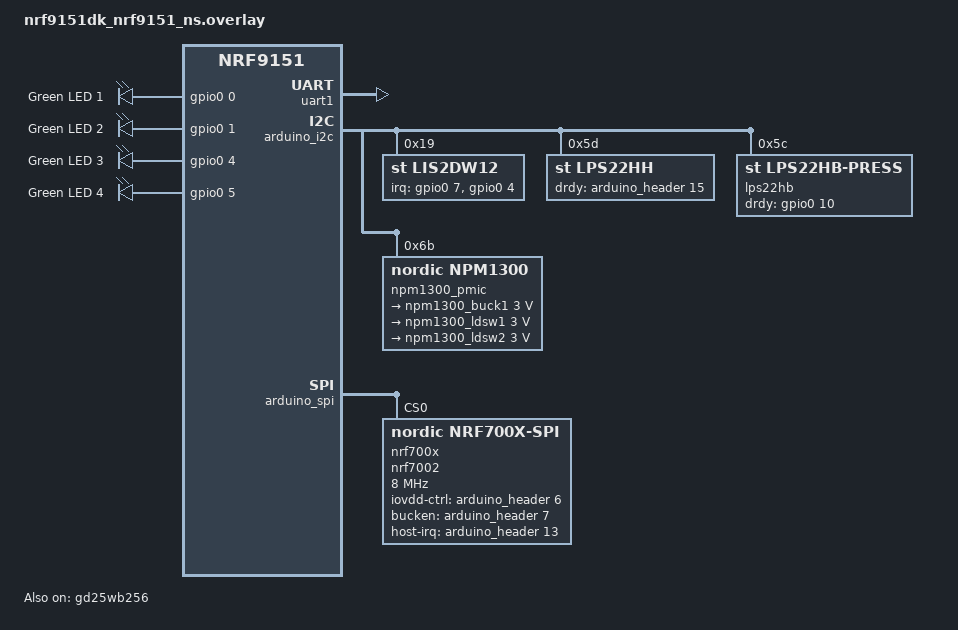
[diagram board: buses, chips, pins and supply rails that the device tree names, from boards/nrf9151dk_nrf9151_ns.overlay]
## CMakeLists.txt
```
#
# Copyright (c) 2021 Nordic Semiconductor ASA
#
# SPDX-License-Identifier: LicenseRef-Nordic-5-Clause
#

cmake_minimum_required(VERSION 3.20.0)

list(APPEND BOARD_ROOT ${CMAKE_CURRENT_SOURCE_DIR}/..)
find_package(Zephyr REQUIRED HINTS $ENV{ZEPHYR_BASE})
project(asset_tracker_v2)
zephyr_compile_definitions(PROJECT_NAME=${PROJECT_NAME})

# NORDIC SDK APP START
target_sources(app PRIVATE src/main.c)
# NORDIC SDK APP END

# Include source directory
target_include_directories(app PRIVATE src)
target_include_directories(app PRIVATE include/${BOARD}/)
zephyr_include_directories_ifdef(CONFIG_MEMFAULT configuration/memfault)

# Application directories
add_subdirectory(src/modules)
add_subdirectory(src/events)
add_subdirectory(src/addons)
add_subdirectory(src/location)

add_subdirectory_ifdef(CONFIG_CLOUD_MODULE src/cloud)
add_subdirectory_ifdef(CONFIG_SENSOR_MODULE src/ext_sensors)
add_subdirectory_ifdef(CONFIG_WATCHDOG_APPLICATION src/watchdog)

# Include nRF modem library header file for PC builds.
# These are used throughout the application in type definitions.
if (CONFIG_BOARD_QEMU_X86 OR CONFIG_BOARD_NATIVE_POSIX)
        target_include_directories(app PRIVATE ${NRFXLIB_DIR}/nrf_modem/include/)

        # Make folder containing certificates global so that it can be located by the configured
        # cloud library.
        zephyr_include_directories(src/cloud-certs)

        target_compile_options(app PRIVATE
	        -DCONFIG_LTE_NEIGHBOR_CELLS_MAX=10)
endif()

if(CONFIG_ASSET_TRACKER_V2_LTO)
        target_compile_options(app PRIVATE "-flto")
endif()
```

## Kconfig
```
#
# Copyright (c) 2021 Nordic Semiconductor ASA
#
# SPDX-License-Identifier: LicenseRef-Nordic-5-Clause
#

# Asset Tracker v2 requires UART_INTERRUPT_DRIVEN to be enabled when SERIAL is used in order to
# receive AT Commands.
config UART_INTERRUPT_DRIVEN
	default y if SERIAL

menu "Asset Tracker v2"

config ASSET_TRACKER_V2_APP_VERSION
	string "Asset Tracker application firmware version"
	default "0.0.0-development"

config ASSET_TRACKER_V2_APP_VERSION_MAX_LEN
	int "Maximum length of the application firmware version"
	default 150

config ASSET_TRACKER_V2_LTO
	bool "Enable link time optimization"
	default y if (SIZE_OPTIMIZATIONS && !NATIVE_LIBRARY)
	# not for NATIVE_LIBRARY as otherwise the native simulator build will produce a warning when
	# mixing lto and non lto code causing twister runs to fail
	help
	  Compile the Asset Tracker application code with link time optimization enabled. This
	  option is only applied for the application code and not the libraries and external modules
	  that are linked in.

rsource "src/modules/Kconfig.modules_common"
rsource "src/modules/Kconfig.cloud_module"
rsource "src/cloud/Kconfig.lwm2m_integration"
rsource "src/modules/Kconfig.data_module"
rsource "src/modules/Kconfig.location_module"
rsource "src/modules/Kconfig.modem_module"
rsource "src/modules/Kconfig.sensor_module"
rsource "src/modules/Kconfig.ui_module"
rsource "src/modules/Kconfig.util_module"
rsource "src/modules/Kconfig.led_module"
rsource "src/modules/Kconfig.debug_module"

rsource "src/addons/Kconfig"
rsource "src/addons/pmic/Kconfig"
rsource "src/cloud/cloud_codec/Kconfig"
rsource "src/watchdog/Kconfig"
rsource "src/events/Kconfig"

endmenu

menu "Zephyr Kernel"
source "Kconfig.zephyr"
endmenu

module = APPLICATION_MODULE
module-str = Application module
source "subsys/logging/Kconfig.template.log_config"
```

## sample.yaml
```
sample:
  name: Asset Tracker v2 Application
tests:
  applications.asset_tracker_v2.nrf_cloud:
    build_only: true
    build_on_all: true
    platform_allow:
      - nrf9160dk_nrf9160_ns
      - nrf9161dk_nrf9161_ns
      - nrf9151dk_nrf9151_ns
      - thingy9151lite_nrf9161_ns
      - thingy91_nrf9160_ns
      - thingy91x_nrf9151_ns
      - native_sim
    integration_platforms:
      - nrf9160dk_nrf9160_ns
      - thingy91_nrf9160_ns
      - native_sim
    tags: ci_build
  applications.asset_tracker_v2.nrf_cloud.sysbuild:
    build_only: true
    sysbuild: true
    build_on_all: true
    platform_allow:
      - nrf9160dk_nrf9160_ns
      - thingy91_nrf9160_ns
      - thingy91x_nrf9151_ns
    integration_platforms:
      - nrf9160dk_nrf9160_ns
      - thingy91_nrf9160_ns
    tags: ci_build sysbuild
  applications.asset_tracker_v2.nrf_cloud-pgps:
    build_only: true
    build_on_all: true
    platform_allow:
      - nrf9160dk_nrf9160_ns
      - nrf9161dk_nrf9161_ns
      - nrf9151dk_nrf9151_ns
      - thingy9151lite_nrf9161_ns
      - thingy91_nrf9160_ns
      - thingy91x_nrf9151_ns
    integration_platforms:
      - nrf9160dk_nrf9160_ns
      - thingy91_nrf9160_ns
    extra_args: EXTRA_CONF_FILE=overlay-pgps.conf
    tags: ci_build
  applications.asset_tracker_v2.nrf_cloud-pgps.sysbuild:
    build_only: true
    sysbuild: true
    build_on_all: true
    platform_allow:
      - nrf9160dk_nrf9160_ns
      - thingy91_nrf9160_ns
      - thingy91x_nrf9151_ns
    integration_platforms:
      - nrf9160dk_nrf9160_ns
      - thingy91_nrf9160_ns
    extra_args: EXTRA_CONF_FILE=overlay-pgps.conf
    tags: ci_build sysbuild
  applications.asset_tracker_v2.nrf_cloud-no-agnss:
    build_only: true
    build_on_all: true
    platform_allow:
      - nrf9160dk_nrf9160_ns
      - nrf9161dk_nrf9161_ns
      - nrf9151dk_nrf9151_ns
      - thingy9151lite_nrf9161_ns
      - thingy91_nrf9160_ns
      - thingy91x_nrf9151_ns
    integration_platforms:
      - nrf9160dk_nrf9160_ns
      - thingy91_nrf9160_ns
    extra_args: CONFIG_NRF_CLOUD_AGNSS=n
    tags: ci_build
  applications.asset_tracker_v2.nrf_cloud-no-agnss.sysbuild:
    build_only: true
    sysbuild: true
    build_on_all: true
    platform_allow:
      - nrf9160dk_nrf9160_ns
      - thingy91_nrf9160_ns
      - thingy91x_nrf9151_ns
    integration_platforms:
      - nrf9160dk_nrf9160_ns
      - thingy91_nrf9160_ns
    extra_args: CONFIG_NRF_CLOUD_AGNSS=n
    tags: ci_build sysbuild
  applications.asset_tracker_v2.aws:
    build_only: true
    build_on_all: true
    platform_allow:
      - nrf9160dk_nrf9160_ns
      - nrf9161dk_nrf9161_ns
      - nrf9151dk_nrf9151_ns
      - thingy9151lite_nrf9161_ns
      - thingy91_nrf9160_ns
      - thingy91x_nrf9151_ns
      - native_sim
    integration_platforms:
      - nrf9160dk_nrf9160_ns
      - thingy91_nrf9160_ns
      - native_sim
    extra_configs:
      - CONFIG_AWS_IOT_BROKER_HOST_NAME="example-hostname.aws.com"
    extra_args: EXTRA_CONF_FILE="overlay-aws.conf"
    tags: ci_build
  applications.asset_tracker_v2.aws.sysbuild:
    build_only: true
    sysbuild: true
    build_on_all: true
    platform_allow:
      - nrf9160dk_nrf9160_ns
      - thingy91_nrf9160_ns
      - thingy91x_nrf9151_ns
    integration_platforms:
      - nrf9160dk_nrf9160_ns
      - thingy91_nrf9160_ns
    extra_configs:
      - CONFIG_AWS_IOT_BROKER_HOST_NAME="example-hostname.aws.com"
    extra_args: EXTRA_CONF_FILE="overlay-aws.conf"
    tags: ci_build sysbuild
  applications.asset_tracker_v2.aws-pgps:
    build_only: true
    build_on_all: true
    platform_allow:
      - nrf9160dk_nrf9160_ns
      - nrf9161dk_nrf9161_ns
      - nrf9151dk_nrf9151_ns
      - thingy9151lite_nrf9161_ns
      - thingy91_nrf9160_ns
      - thingy91x_nrf9151_ns
    integration_platforms:
      - nrf9160dk_nrf9160_ns
      - thingy91_nrf9160_ns
    extra_configs:
      - CONFIG_AWS_IOT_BROKER_HOST_NAME="example-hostname.aws.com"
    extra_args: EXTRA_CONF_FILE="overlay-aws.conf;overlay-pgps.conf"
    tags: ci_build
  applications.asset_tracker_v2.aws-pgps.sysbuild:
    build_only: true
    sysbuild: true
    build_on_all: true
    platform_allow:
      - nrf9160dk_nrf9160_ns
      - thingy91_nrf9160_ns
      - thingy91x_nrf9151_ns
    integration_platforms:
      - nrf9160dk_nrf9160_ns
      - thingy91_nrf9160_ns
    extra_configs:
      - CONFIG_AWS_IOT_BROKER_HOST_NAME="example-hostname.aws.com"
    extra_args: EXTRA_CONF_FILE="overlay-aws.conf;overlay-pgps.conf"
    tags: ci_build sysbuild
  applications.asset_tracker_v2.aws-all:
    build_only: true
    build_on_all: true
    platform_allow:
      - nrf9160dk_nrf9160_ns
      - nrf9161dk_nrf9161_ns
      - nrf9151dk_nrf9151_ns
      - thingy9151lite_nrf9161_ns
      - thingy91_nrf9160_ns
      - thingy91x_nrf9151_ns
    integration_platforms:
      - nrf9160dk_nrf9160_ns
      - thingy91_nrf9160_ns
    extra_configs:
      - CONFIG_AWS_IOT_BROKER_HOST_NAME="example-hostname.aws.com"
      - CONFIG_MEMFAULT_NCS_PROJECT_KEY="PROJECTKEY"
    extra_args: >
      EXTRA_CONF_FILE="overlay-aws.conf;overlay-pgps.conf;overlay-debug.conf;overlay-memfault.conf"
    tags: ci_build
  applications.asset_tracker_v2.aws-all.sysbuild:
    build_only: true
    sysbuild: true
    build_on_all: true
    platform_allow:
      - nrf9160dk_nrf9160_ns
      - thingy91_nrf9160_ns
      - thingy91x_nrf9151_ns
    integration_platforms:
      - nrf9160dk_nrf9160_ns
      - thingy91_nrf9160_ns
    extra_configs:
      - CONFIG_AWS_IOT_BROKER_HOST_NAME="example-hostname.aws.com"
      - CONFIG_MEMFAULT_NCS_PROJECT_KEY="PROJECTKEY"
    extra_args: >
      EXTRA_CONF_FILE="overlay-aws.conf;overlay-pgps.conf;overlay-debug.conf;overlay-memfault.conf"
    tags: ci_build sysbuild
  applications.asset_tracker_v2.azure:
    build_only: true
    build_on_all: true
    platform_allow:
      - nrf9160dk_nrf9160_ns
      - nrf9161dk_nrf9161_ns
      - nrf9151dk_nrf9151_ns
      - thingy9151lite_nrf9161_ns
      - thingy91_nrf9160_ns
      - thingy91x_nrf9151_ns
      - native_sim
    integration_platforms:
      - nrf9160dk_nrf9160_ns
      - thingy91_nrf9160_ns
      - native_sim
    extra_configs:
      - CONFIG_AZURE_IOT_HUB_DPS_HOSTNAME="global.azure-devices-provisioning.net"
      - CONFIG_AZURE_IOT_HUB_DPS_ID_SCOPE="IDSCOPE"
    extra_args: EXTRA_CONF_FILE="overlay-azure.conf"
    tags: ci_build
  applications.asset_tracker_v2.azure.sysbuild:
    build_only: true
    sysbuild: true
    build_on_all: true
    platform_allow:
      - nrf9160dk_nrf9160_ns
      - thingy91_nrf9160_ns
      - thingy91x_nrf9151_ns
    integration_platforms:
      - nrf9160dk_nrf9160_ns
      - thingy91_nrf9160_ns
    extra_configs:
      - CONFIG_AZURE_IOT_HUB_DPS_HOSTNAME="global.azure-devices-provisioning.net"
      - CONFIG_AZURE_IOT_HUB_DPS_ID_SCOPE="IDSCOPE"
    extra_args: EXTRA_CONF_FILE="overlay-azure.conf"
    tags: ci_build sysbuild
  applications.asset_tracker_v2.debug:
    build_only: true
    build_on_all: true
    platform_allow:
      - nrf9160dk_nrf9160_ns
      - nrf9161dk_nrf9161_ns
      - nrf9151dk_nrf9151_ns
      - thingy9151lite_nrf9161_ns
      - thingy91_nrf9160_ns
      - thingy91x_nrf9151_ns
      - native_sim
    integration_platforms:
      - nrf9160dk_nrf9160_ns
      - thingy91_nrf9160_ns
      - native_sim
    extra_args: EXTRA_CONF_FILE=overlay-debug.conf
    tags: ci_build
  applications.asset_tracker_v2.debug.sysbuild:
    build_only: true
    sysbuild: true
    build_on_all: true
    platform_allow:
      - nrf9160dk_nrf9160_ns
      - thingy91_nrf9160_ns
      - thingy91x_nrf9151_ns
    integration_platforms:
      - nrf9160dk_nrf9160_ns
      - thingy91_nrf9160_ns
    extra_args: EXTRA_CONF_FILE=overlay-debug.conf
    tags: ci_build sysbuild
  applications.asset_tracker_v2.debug-memfault:
    build_only: true
    build_on_all: true
    platform_allow:
      - nrf9160dk_nrf9160_ns
      - nrf9161dk_nrf9161_ns
      - nrf9151dk_nrf9151_ns
      - thingy9151lite_nrf9161_ns
      - thingy91_nrf9160_ns
      - thingy91x_nrf9151_ns
    integration_platforms:
      - nrf9160dk_nrf9160_ns
      - thingy91_nrf9160_ns
    extra_configs:
      - CONFIG_MEMFAULT_NCS_PROJECT_KEY="PROJECTKEY"
    extra_args: EXTRA_CONF_FILE="overlay-debug.conf;overlay-memfault.conf"
    tags: ci_build
  applications.asset_tracker_v2.debug-memfault.sysbuild:
    build_only: true
    sysbuild: true
    build_on_all: true
    platform_allow:
      - nrf9160dk_nrf9160_ns
      - thingy91_nrf9160_ns
      - thingy91x_nrf9151_ns
    integration_platforms:
      - nrf9160dk_nrf9160_ns
      - thingy91_nrf9160_ns
    extra_configs:
      - CONFIG_MEMFAULT_NCS_PROJECT_KEY="PROJECTKEY"
    extra_args: EXTRA_CONF_FILE="overlay-debug.conf;overlay-memfault.conf"
    tags: ci_build sysbuild
  applications.asset_tracker_v2.memfault:
    build_only: true
    build_on_all: true
    platform_allow:
      - nrf9160dk_nrf9160_ns
      - nrf9161dk_nrf9161_ns
      - nrf9151dk_nrf9151_ns
      - thingy9151lite_nrf9161_ns
      - thingy91_nrf9160_ns
      - thingy91x_nrf9151_ns
    integration_platforms:
      - nrf9160dk_nrf9160_ns
      - thingy91_nrf9160_ns
    extra_configs:
      - CONFIG_MEMFAULT_NCS_PROJECT_KEY="PROJECTKEY"
    extra_args: EXTRA_CONF_FILE=overlay-memfault.conf
    tags: ci_build
  applications.asset_tracker_v2.memfault.sysbuild:
    build_only: true
    sysbuild: true
    build_on_all: true
    platform_allow:
      - nrf9160dk_nrf9160_ns
      - thingy91_nrf9160_ns
      - thingy91x_nrf9151_ns
    integration_platforms:
      - nrf9160dk_nrf9160_ns
      - thingy91_nrf9160_ns
    extra_configs:
      - CONFIG_MEMFAULT_NCS_PROJECT_KEY="PROJECTKEY"
    extra_args: EXTRA_CONF_FILE=overlay-memfault.conf
    tags: ci_build sysbuild
  applications.asset_tracker_v2.low-power:
    build_only: true
    build_on_all: true
    platform_allow:
      - nrf9160dk_nrf9160_ns
      - nrf9161dk_nrf9161_ns
      - nrf9151dk_nrf9151_ns
      - thingy9151lite_nrf9161_ns
      - thingy91_nrf9160_ns
      - thingy91x_nrf9151_ns
    integration_platforms:
      - nrf9160dk_nrf9160_ns
      - thingy91_nrf9160_ns
    extra_args: EXTRA_CONF_FILE=overlay-low-power.conf
    tags: ci_build
  applications.asset_tracker_v2.low-power.sysbuild:
    build_only: true
    sysbuild: true
    build_on_all: true
    platform_allow:
      - nrf9160dk_nrf9160_ns
      - thingy91_nrf9160_ns
      - thingy91x_nrf9151_ns
    integration_platforms:
      - nrf9160dk_nrf9160_ns
      - thingy91_nrf9160_ns
    extra_args: EXTRA_CONF_FILE=overlay-low-power.conf
    tags: ci_build sysbuild
  applications.asset_tracker_v2.carrier.nrf9160dk:
    build_only: true
    build_on_all: true
    platform_allow:
      - nrf9160dk_nrf9160_ns
      - thingy91_nrf9160_ns
      - thingy91x_nrf9151_ns
    integration_platforms:
      - nrf9160dk_nrf9160_ns
    extra_args: EXTRA_CONF_FILE=overlay-carrier.conf
    tags: ci_build
  applications.asset_tracker_v2.carrier.nrf9160dk.sysbuild:
    build_only: true
    sysbuild: true
    build_on_all: true
    platform_allow:
      - nrf9160dk_nrf9160_ns
      - thingy91_nrf9160_ns
      - thingy91x_nrf9151_ns
    integration_platforms:
      - nrf9160dk_nrf9160_ns
      - thingy91_nrf9160_ns
    extra_args: EXTRA_CONF_FILE=overlay-carrier.conf
    tags: ci_build sysbuild
  applications.asset_tracker_v2.carrier.nrf9161dk:
    build_only: true
    build_on_all: true
    platform_allow: nrf9161dk_nrf9161_ns
    integration_platforms:
      - nrf9161dk_nrf9161_ns
    extra_args: EXTRA_CONF_FILE=overlay-carrier.conf
    tags: ci_build
  applications.asset_tracker_v2.carrier.nrf9151dk:
    build_only: true
    build_on_all: true
    platform_allow: nrf9151dk_nrf9151_ns
    integration_platforms:
      - nrf9151dk_nrf9151_ns
    extra_args: EXTRA_CONF_FILE=overlay-carrier.conf
    tags: ci_build
  applications.asset_tracker_v2.carrier.thingy9151lite:
    build_only: true
    build_on_all: true
    platform_allow: thingy9151lite_nrf9161_ns
    integration_platforms:
      - thingy9151lite_nrf9161_ns
    extra_args: EXTRA_CONF_FILE=overlay-carrier.conf
    tags: ci_build
  applications.asset_tracker_v2.lwm2m.bootstrap-low_power:
    build_only: true
    build_on_all: true
    platform_allow:
      - nrf9160dk_nrf9160_ns
      - nrf9161dk_nrf9161_ns
      - nrf9151dk_nrf9151_ns
      - thingy9151lite_nrf9161_ns
      - thingy91_nrf9160_ns
      - thingy91x_nrf9151_ns
    integration_platforms:
      - nrf9160dk_nrf9160_ns
      - thingy91_nrf9160_ns
    extra_configs:
      - CONFIG_LWM2M_RD_CLIENT_SUPPORT_BOOTSTRAP=y
    extra_args: EXTRA_CONF_FILE="overlay-lwm2m.conf;overlay-low-power.conf"
    tags: ci_build
  applications.asset_tracker_v2.lwm2m.low-power.sysbuild:
    build_only: true
    sysbuild: true
    build_on_all: true
    platform_allow:
      - nrf9160dk_nrf9160_ns
      - thingy91_nrf9160_ns
      - thingy91x_nrf9151_ns
    integration_platforms:
      - nrf9160dk_nrf9160_ns
      - thingy91_nrf9160_ns
    extra_args: EXTRA_CONF_FILE="overlay-lwm2m.conf;overlay-low-power.conf"
    tags: ci_build sysbuild
  applications.asset_tracker_v2.lwm2m.debug:
    build_only: true
    build_on_all: true
    platform_allow:
      - nrf9160dk_nrf9160_ns
      - nrf9161dk_nrf9161_ns
      - nrf9151dk_nrf9151_ns
      - thingy9151lite_nrf9161_ns
      - thingy91_nrf9160_ns
      - thingy91x_nrf9151_ns
    integration_platforms:
      - nrf9160dk_nrf9160_ns
      - thingy91_nrf9160_ns
    extra_args: EXTRA_CONF_FILE="overlay-lwm2m.conf;overlay-debug.conf"
    tags: ci_build
  applications.asset_tracker_v2.lwm2m.debug.sysbuild:
    build_only: true
    sysbuild: true
    build_on_all: true
    platform_allow:
      - nrf9160dk_nrf9160_ns
      - thingy91_nrf9160_ns
      - thingy91x_nrf9151_ns
    integration_platforms:
      - nrf9160dk_nrf9160_ns
      - thingy91_nrf9160_ns
    extra_args: EXTRA_CONF_FILE="overlay-lwm2m.conf;overlay-debug.conf"
    tags: ci_build sysbuild
  applications.asset_tracker_v2.lwm2m.debug-modem_trace:
    build_only: true
    build_on_all: true
    platform_allow:
      - nrf9160dk_nrf9160_ns
      - nrf9161dk_nrf9161_ns
      - nrf9151dk_nrf9151_ns
      - thingy9151lite_nrf9161_ns
    integration_platforms:
      - nrf9160dk_nrf9160_ns
    extra_args:
      EXTRA_CONF_FILE="overlay-lwm2m.conf;overlay-debug.conf"
      SNIPPET="nrf91-modem-trace-uart;tfm-enable-share-uart"
    tags: ci_build
  applications.asset_tracker_v2.lwm2m.debug-modem_trace.sysbuild:
    build_only: true
    sysbuild: true
    build_on_all: true
    platform_allow:
      - nrf9160dk_nrf9160_ns
    integration_platforms:
      - nrf9160dk_nrf9160_ns
    extra_args: >
      EXTRA_CONF_FILE="overlay-lwm2m.conf;overlay-debug.conf"
      asset_tracker_v2_SNIPPET="nrf91-modem-trace-uart;tfm-enable-share-uart"
    tags: ci_build sysbuild
  applications.asset_tracker_v2.lwm2m.modem_trace:
    build_only: true
    build_on_all: true
    platform_allow:
      - nrf9160dk_nrf9160_ns
      - nrf9161dk_nrf9161_ns
      - nrf9151dk_nrf9151_ns
      - thingy9151lite_nrf9161_ns
      - thingy91_nrf9160_ns
      - thingy91x_nrf9151_ns
    integration_platforms:
      - nrf9160dk_nrf9160_ns
      - thingy91_nrf9160_ns
    extra_args:
      EXTRA_CONF_FILE="overlay-lwm2m.conf"
      SNIPPET="nrf91-modem-trace-uart;tfm-enable-share-uart"
    tags: ci_build
  applications.asset_tracker_v2.lwm2m.modem_trace.sysbuild:
    build_only: true
    sysbuild: true
    build_on_all: true
    platform_allow:
      - nrf9160dk_nrf9160_ns
      - thingy91_nrf9160_ns
      - thingy91x_nrf9151_ns
    integration_platforms:
      - nrf9160dk_nrf9160_ns
      - thingy91_nrf9160_ns
    extra_args: >
      EXTRA_CONF_FILE="overlay-lwm2m.conf"
      asset_tracker_v2_SNIPPET="nrf91-modem-trace-uart;tfm-enable-share-uart"
    tags: ci_build sysbuild
  applications.asset_tracker_v2.lwm2m.memfault:
    build_only: true
    build_on_all: true
    platform_allow:
      - nrf9160dk_nrf9160_ns
      - nrf9161dk_nrf9161_ns
      - nrf9151dk_nrf9151_ns
      - thingy9151lite_nrf9161_ns
      - thingy91_nrf9160_ns
      - thingy91x_nrf9151_ns
    integration_platforms:
      - nrf9160dk_nrf9160_ns
      - nrf9161dk_nrf9161_ns
      - nrf9151dk_nrf9151_ns
      - thingy9151lite_nrf9161_ns
      - thingy91_nrf9160_ns
    extra_configs:
      - CONFIG_MEMFAULT_NCS_PROJECT_KEY="PROJECTKEY"
    extra_args: EXTRA_CONF_FILE="overlay-lwm2m.conf;overlay-memfault.conf"
    tags: ci_build
  applications.asset_tracker_v2.lwm2m.memfault.sysbuild:
    build_only: true
    sysbuild: true
    build_on_all: true
    platform_allow:
      - nrf9160dk_nrf9160_ns
      - thingy91_nrf9160_ns
      - thingy91x_nrf9151_ns
    integration_platforms:
      - nrf9160dk_nrf9160_ns
      - thingy91_nrf9160_ns
    extra_configs:
      - CONFIG_MEMFAULT_NCS_PROJECT_KEY="PROJECTKEY"
    extra_args: EXTRA_CONF_FILE="overlay-lwm2m.conf;overlay-memfault.conf"
    tags: ci_build sysbuild
  applications.asset_tracker_v2.memfault-low-power:
    build_only: true
    build_on_all: true
    platform_allow:
      - nrf9160dk_nrf9160_ns
      - nrf9161dk_nrf9161_ns
      - nrf9151dk_nrf9151_ns
      - thingy9151lite_nrf9161_ns
      - thingy91_nrf9160_ns
      - thingy91x_nrf9151_ns
    integration_platforms:
      - nrf9160dk_nrf9160_ns
      - nrf9161dk_nrf9161_ns
      - nrf9151dk_nrf9151_ns
      - thingy9151lite_nrf9161_ns
      - thingy91_nrf9160_ns
    extra_configs:
      - CONFIG_MEMFAULT_NCS_PROJECT_KEY="PROJECTKEY"
    extra_args: EXTRA_CONF_FILE="overlay-low-power.conf;overlay-memfault.conf"
    tags: ci_build
  applications.asset_tracker_v2.memfault-low-power.sysbuild:
    build_only: true
    sysbuild: true
    build_on_all: true
    platform_allow:
      - nrf9160dk_nrf9160_ns
      - thingy91_nrf9160_ns
      - thingy91x_nrf9151_ns
    integration_platforms:
      - nrf9160dk_nrf9160_ns
      - thingy91_nrf9160_ns
    extra_configs:
      - CONFIG_MEMFAULT_NCS_PROJECT_KEY="PROJECTKEY"
    extra_args: EXTRA_CONF_FILE="overlay-low-power.conf;overlay-memfault.conf"
    tags: ci_build sysbuild
  applications.asset_tracker_v2.nrf7002ek_wifi.nrf9160dk:
    build_only: true
    integration_platforms:
      - nrf9160dk_nrf9160_ns
    platform_allow: nrf9160dk_nrf9160_ns
    extra_args: SHIELD=nrf7002ek EXTRA_CONF_FILE=overlay-nrf7002ek-wifi-scan-only.conf
    tags: ci_build
  applications.asset_tracker_v2.nrf7002ek_wifi.nrf9160dk.sysbuild:
    build_only: true
    sysbuild: true
    integration_platforms:
      - nrf9160dk_nrf9160_ns
    platform_allow: nrf9160dk_nrf9160_ns
    extra_args: SHIELD=nrf7002ek EXTRA_CONF_FILE=overlay-nrf7002ek-wifi-scan-only.conf
    tags: ci_build sysbuild
  applications.asset_tracker_v2.nrf7002ek_wifi.nrf9161dk:
    build_only: true
    integration_platforms:
      - nrf9161dk_nrf9161_ns
    platform_allow: nrf9161dk_nrf9161_ns
    extra_args: SHIELD=nrf7002ek EXTRA_CONF_FILE=overlay-nrf7002ek-wifi-scan-only.conf
    tags: ci_build
  applications.asset_tracker_v2.nrf7002ek_wifi.nrf9151dk:
    build_only: true
    integration_platforms:
      - nrf9151dk_nrf9151_ns
    platform_allow: nrf9151dk_nrf9151_ns
    extra_args: SHIELD=nrf7002ek EXTRA_CONF_FILE=overlay-nrf7002ek-wifi-scan-only.conf
    tags: ci_build
  applications.asset_tracker_v2.nrf7002ek_wifi.thingy9151lite:
    build_only: true
    integration_platforms:
      - thingy9151lite_nrf9161_ns
    platform_allow: thingy9151lite_nrf9161_ns
    extra_args: SHIELD=nrf7002ek EXTRA_CONF_FILE=overlay-nrf7002ek-wifi-scan-only.conf
    tags: ci_build
  applications.asset_tracker_v2.nrf7002ek_wifi-debug:
    build_only: true
    integration_platforms:
      - nrf9160dk_nrf9160_ns
      - nrf9161dk_nrf9161_ns
      - nrf9151dk_nrf9151_ns
      - thingy9151lite_nrf9161_ns
    platform_allow:
      - nrf9160dk_nrf9160_ns
      - nrf9161dk_nrf9161_ns
      - nrf9151dk_nrf9151_ns
      - thingy9151lite_nrf9161_ns
    extra_args: SHIELD=nrf7002ek
                EXTRA_CONF_FILE="overlay-nrf7002ek-wifi-scan-only.conf;overlay-debug.conf"
    tags: ci_build
  applications.asset_tracker_v2.nrf7002ek_wifi-debug.sysbuild:
    build_only: true
    sysbuild: true
    integration_platforms:
      - nrf9160dk_nrf9160_ns
    platform_allow: nrf9160dk_nrf9160_ns
    extra_args: SHIELD=nrf7002ek
                EXTRA_CONF_FILE="overlay-nrf7002ek-wifi-scan-only.conf;overlay-debug.conf"
    tags: ci_build sysbuild
```

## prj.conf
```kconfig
#
# Copyright (c) 2021 Nordic Semiconductor ASA
#
# SPDX-License-Identifier: LicenseRef-Nordic-5-Clause
#

# General config
CONFIG_PICOLIBC=y
CONFIG_ASSERT=y
CONFIG_REBOOT=y
CONFIG_FPU=y

# Heap and stacks
CONFIG_HEAP_MEM_POOL_SIZE=47250
CONFIG_MAIN_STACK_SIZE=2048
CONFIG_SHELL_STACK_SIZE=2048
CONFIG_SYSTEM_WORKQUEUE_STACK_SIZE=4096
CONFIG_HW_STACK_PROTECTION=y
# Increase AT monitor heap size to be able to fit both neighbor cell measurement
# and other AT notifications that may come in rapid succession.
CONFIG_AT_MONITOR_HEAP_SIZE=1024

# Logging
CONFIG_LOG=y
CONFIG_LOG_MODE_DEFERRED=y

# Shell
CONFIG_SHELL=y
CONFIG_KERNEL_SHELL=y
CONFIG_SHELL_VT100_COLORS=y
CONFIG_SHELL_CMD_BUFF_SIZE=128
## Reduce shell memory usage
CONFIG_SHELL_WILDCARD=n
CONFIG_SHELL_HELP_ON_WRONG_ARGUMENT_COUNT=n
CONFIG_SHELL_STATS=n
CONFIG_SHELL_CMDS=n
CONFIG_SHELL_HISTORY=y

## For testing flash
#CONFIG_PRINTK=y
CONFIG_FLASH_SHELL=y
CONFIG_FLASH_SHELL_TEST_COMMANDS=y

# nRF modem library
CONFIG_NRF_MODEM_LIB=y
CONFIG_NRF_MODEM_LIB_ON_FAULT_APPLICATION_SPECIFIC=y

# Network
CONFIG_NETWORKING=y
CONFIG_NET_SOCKETS=y
CONFIG_NET_SOCKETS_OFFLOAD=y
CONFIG_NET_IPV6=y
CONFIG_NET_IPV4=y

CONFIG_NET_PPP=y
CONFIG_NET_PPP_LOG_LEVEL_INF=y
CONFIG_NET_L2_PPP=y
CONFIG_NET_L2_PPP_LOG_LEVEL_INF=y
CONFIG_NET_IF_MAX_IPV4_COUNT=2
CONFIG_NET_IF_MAX_IPV6_COUNT=2
CONFIG_NET_NATIVE=y
CONFIG_NET_TCP=y
CONFIG_NET_DRIVERS=y
CONFIG_NET_LOG=y
CONFIG_NET_SHELL=y

CONFIG_TFM_SECURE_UART0=y
CONFIG_TFM_SECURE_UART1=n
CONFIG_TFM_SECURE_UART_SHARE_INSTANCE=y

CONFIG_NET_CONFIG_SETTINGS=y
CONFIG_NET_CONFIG_NEED_IPV4=y
CONFIG_NET_CONFIG_MY_IPV4_ADDR="192.0.2.1"

# LTE link control
## Power saving timers.
### 320 hours PSM.
CONFIG_LTE_PSM_REQ=y
CONFIG_LTE_PSM_REQ_RPTAU="11000001"
### 20 seconds active time.
CONFIG_LTE_PSM_REQ_RAT="00001010"

# Settings - Used to store real-time device configuration to flash.
CONFIG_SETTINGS=y
CONFIG_SETTINGS_FCB=y
CONFIG_FCB=y

# FOTA
CONFIG_FOTA_DOWNLOAD=y
CONFIG_DFU_TARGET=y
CONFIG_DOWNLOAD_CLIENT=y
CONFIG_DOWNLOAD_CLIENT_HTTP_FRAG_SIZE_1024=y
CONFIG_DOWNLOAD_CLIENT_STACK_SIZE=4096
CONFIG_DOWNLOAD_CLIENT_BUF_SIZE=2300
CONFIG_DOWNLOAD_CLIENT_MAX_HOSTNAME_SIZE=128

# Flash - Used in FOTA, settings and storage for P-GPS.
CONFIG_FLASH=y
CONFIG_FLASH_PAGE_LAYOUT=y
CONFIG_FLASH_MAP=y
CONFIG_STREAM_FLASH=y
CONFIG_MPU_ALLOW_FLASH_WRITE=y

# MCUBOOT
CONFIG_BOOTLOADER_MCUBOOT=y
CONFIG_IMG_MANAGER=y
CONFIG_MCUBOOT_IMG_MANAGER=y
CONFIG_IMG_ERASE_PROGRESSIVELY=y
CONFIG_SECURE_BOOT=y
CONFIG_BUILD_S1_VARIANT=y

# Watchdog
CONFIG_WATCHDOG_APPLICATION=y
CONFIG_WATCHDOG_APPLICATION_USE_NPM1300_WDT=y
CONFIG_WATCHDOG_APPLICATION_TIMEOUT_MS=10000
CONFIG_WDT_SHELL=n

# Application Event Manager
CONFIG_APP_EVENT_MANAGER=y
CONFIG_APP_EVENT_MANAGER_LOG_EVENT_TYPE=n
CONFIG_AT_SHELL=y

# cJSON - Used in cloud data encoding.
CONFIG_CJSON_LIB=y

# CAF - Common Application Framework
CONFIG_CAF=y
CONFIG_LED=y
CONFIG_CAF_LEDS=y
CONFIG_CAF_INIT_LOG_LED_READY_EVENTS=n
CONFIG_CAF_INIT_LOG_LED_EVENTS=n
CONFIG_CAF_INIT_LOG_MODULE_STATE_EVENTS=n

# Location related configuration
CONFIG_LOCATION=y
CONFIG_LOCATION_REQUEST_DEFAULT_METHOD_FIRST_GNSS=y
CONFIG_LOCATION_REQUEST_DEFAULT_METHOD_SECOND_CELLULAR=y
CONFIG_LOCATION_REQUEST_DEFAULT_GNSS_TIMEOUT=2000000
CONFIG_LOCATION_DATA_DETAILS=y
CONFIG_LOCATION_LOG_LEVEL_INF=y

# Default cloud transport service
CONFIG_NRF_CLOUD_MQTT=y
CONFIG_HW_ID_LIBRARY=y
CONFIG_HW_ID_LIBRARY_SOURCE_IMEI=y

# Sensors
CONFIG_SENSOR=y
CONFIG_SENSOR_LOG_LEVEL_INF=y
CONFIG_LIS2DW12_TRIGGER_OWN_THREAD=y
CONFIG_LIS2DW12_TAP=y
CONFIG_LPS22HB_TRIGGER_OWN_THREAD=y
CONFIG_LPS22HH_TRIGGER_OWN_THREAD=y

# PMIC
CONFIG_PMIC=y
CONFIG_PMIC_IRQ=y

# Voltage regulators
CONFIG_PMIC_REGULATOR=y
CONFIG_REGULATOR_SHELL=n

# PMIC charger
CONFIG_PMIC_CHARGER=y

# For LED testing
CONFIG_LED_SHELL=y

# Disable location module
CONFIG_LOCATION_MODULE=n

# Reduce nRF Cloud request rate
CONFIG_DATA_DEVICE_MODE_PASSIVE=y
CONFIG_DATA_MOVEMENT_RESOLUTION_SECONDS=1800
CONFIG_DATA_MOVEMENT_TIMEOUT_SECONDS=7200

# Getopt
CONFIG_GETOPT=n
CONFIG_GETOPT_LONG=y
CONFIG_GETOPT_LIB=n

# GNSS
CONFIG_NRF_CLOUD_AGNSS=y

# WiFi
CONFIG_WIFI=y
CONFIG_WIFI_NRF700X=y
CONFIG_NET_L2_WIFI_SHELL=y
CONFIG_NET_L2_ETHERNET=y

CONFIG_NRF700X_RX_NUM_BUFS=16
CONFIG_NRF700X_MAX_TX_AGGREGATION=4

CONFIG_HEAP_MEM_POOL_SIZE=25000

# printing of scan results puts pressure on queues in new locking
# design in net_mgmt. So, use a higher timeout for a crowded
# environment.
CONFIG_NET_MGMT_EVENT_QUEUE_TIMEOUT=5000

CONFIG_NET_TC_TX_COUNT=1

# nRF7002 scan-only

# Scan only using offload API
CONFIG_WPA_SUPP=n
CONFIG_MBEDTLS=n
CONFIG_NORDIC_SECURITY_BACKEND=y

# Memories
CONFIG_NET_PKT_RX_COUNT=1
CONFIG_NET_PKT_TX_COUNT=1
```

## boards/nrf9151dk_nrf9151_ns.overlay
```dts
/*
 * Copyright (c) 2024 Nordic Semiconductor ASA
 *
 * SPDX-License-Identifier: LicenseRef-Nordic-5-Clause
 */

#include <dt-bindings/regulator/npm1300.h>

/	{

	chosen {
		zephyr,ppp-uart = &uart1;
	};

	/delete-node/ leds;

	leds0 {
		compatible = "gpio-leds";
		status = "okay";
		label = "LED0";
		led0: led_0 {
			status = "okay";
			gpios = <&gpio0 0 0>;
			label = "Green LED 1";
		};
	};

	leds1 {
		compatible = "gpio-leds";
		status = "okay";
		label = "LED1";
		led1: led_1 {
			gpios = <&gpio0 1 0>;
			label = "Green LED 2";
		};
	};

	leds2 {
		compatible = "gpio-leds";
		status = "okay";
		label = "LED2";
		led2: led_2 {
			gpios = <&gpio0 4 0>;
			label = "Green LED 3";
		};
	};

	leds3 {
		compatible = "gpio-leds";
		status = "okay";
		label = "LED3";
		led3: led_3 {
			gpios = <&gpio0 5 0>;
			label = "Green LED 4";
		};
	};

	/* Configure partition manager to use gd25wb256 as the external flash */
	chosen {
		nordic,pm-ext-flash = &gd25wb256;
		zephyr,wifi = &nordic_wlan0;
	};

	aliases {
		ext-flash = &gd25wb256;
	};

	nordic_wlan0: nordic_wlan0 {
		compatible = "nordic,wlan0";
		status = "okay";
	};

	nrf70_tx_power_ceiling: nrf70_tx_power_ceiling_node {
		status = "okay";
		compatible = "nordic,nrf700x-tx-power-ceiling";
		max-pwr-2g-dsss = <0x54>;
		max-pwr-2g-mcs0 = <0x40>;
		max-pwr-2g-mcs7 = <0x40>;
		max-pwr-5g-low-mcs0 = <0x34>;
		max-pwr-5g-low-mcs7 = <0x34>;
		max-pwr-5g-mid-mcs0 = <0x34>;
		max-pwr-5g-mid-mcs7 = <0x34>;
		max-pwr-5g-high-mcs0 = <0x30>;
		max-pwr-5g-high-mcs7 = <0x30>;
	};

};

&gd25wb256 {
	status = "okay";
};

&uart1 {
	status = "okay";
#if 0 /* TBD - the app hangs with hw-flow-control enabled */
	hw-flow-control;
#endif
};

&arduino_i2c {
	lis2dw12: lis2dw12@19 {
		compatible = "st,lis2dw12";
		reg = <0x19>;
		int-pin = <1>;
		irq-gpios =  <&gpio0 7 GPIO_ACTIVE_HIGH>, <&gpio0 4 GPIO_ACTIVE_HIGH>;
		tap-threshold = <1>, <1>, <1>;
	};

	lps22hh: lps22hh@5d {
		compatible = "st,lps22hh";
		reg = <0x5d>;
		drdy-gpios = <&arduino_header 15 GPIO_ACTIVE_HIGH>;
	};

	lps22hb: lps22hb-press@5c {
		compatible = "st,lps22hb-press";
		reg = <0x5c>;
		drdy-gpios = <&gpio0 10 GPIO_ACTIVE_HIGH>;
	};

	npm1300_pmic: pmic@6b {
		compatible = "nordic,npm1300";
		reg = <0x6b>;
		status = "okay";

		npm1300_wdt: npm1300_wdt {
			compatible = "nordic,npm1300-wdt";
		};

		npm1300_regulators: regulators {
			compatible = "nordic,npm1300-regulator";

			/* limits are set to min/max allowed values */
			npm1300_buck1: BUCK1 {
				regulator-min-microvolt = <3000000>;
				regulator-max-microvolt = <3000000>;
			};

			npm1300_ldsw1: LDO1 {
				regulator-min-microvolt = <3000000>;
				regulator-max-microvolt = <3000000>;
				regulator-initial-mode = <NPM1300_LDSW_MODE_LDSW>;
				regulator-allowed-modes = <NPM1300_LDSW_MODE_LDSW>;
			};

			npm1300_ldsw2: LDO2 {
				regulator-min-microvolt = <3000000>;
				regulator-max-microvolt = <3000000>;
				regulator-initial-mode = <NPM1300_LDSW_MODE_LDSW>;
				regulator-allowed-modes = <NPM1300_LDSW_MODE_LDSW>;
			};
		};

		npm1300_charger: charger {
			compatible = "nordic,npm1300-charger";
			term-microvolt = <4150000>;
			term-warm-microvolt = <4150000>;
			current-microamp = <800000>;
			dischg-limit-microamp = <1340000>;
			vbus-limit-microamp = <1200000>;
			thermistor-ohms = <10000>;
			thermistor-beta = <3380>;
			charging-enable;
		};
	};
};

&arduino_spi {
	status = "okay";

	nrf700x: nrf7002@0 {
		compatible = "nordic,nrf700x-spi";
		status = "okay";
		reg = <0>;
		spi-max-frequency = <DT_FREQ_M(8)>;

		iovdd-ctrl-gpios = <&arduino_header 6 (GPIO_ACTIVE_HIGH | GPIO_PULL_DOWN)>;    /* D0 */
		bucken-gpios = <&arduino_header 7 (GPIO_ACTIVE_HIGH | GPIO_PULL_DOWN)>;        /* D1 */
		host-irq-gpios = <&arduino_header 13 GPIO_ACTIVE_HIGH>;     /* D7 */
	};
};
```

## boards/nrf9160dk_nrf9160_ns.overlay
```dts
/*
 * Copyright (c) 2024 VoxelBotics
 */

/	{
	/delete-node/ leds;

	leds0 {
		compatible = "gpio-leds";
		status = "okay";
		label = "LED0";
		led0: led_0 {
			status = "okay";
			gpios = <&gpio0 2 0>;
			label = "Green LED 1";
		};
	};

	leds1 {
		compatible = "gpio-leds";
		status = "okay";
		label = "LED1";
		led1: led_1 {
			gpios = <&gpio0 3 0>;
			label = "Green LED 2";
		};
	};

	leds2 {
		compatible = "gpio-leds";
		status = "okay";
		label = "LED2";
		led2: led_2 {
			gpios = <&gpio0 4 0>;
			label = "Green LED 3";
		};
	};

	leds3 {
		compatible = "gpio-leds";
		status = "okay";
		label = "LED3";
		led3: led_3 {
			gpios = <&gpio0 5 0>;
			label = "Green LED 4";
		};
	};
};

&arduino_i2c {
	lis2dw12: lis2dw12@19 {
		compatible = "st,lis2dw12";
		reg = <0x19>;
		irq-gpios =  <&arduino_header 3 GPIO_ACTIVE_HIGH>; /* A3 */
	};

	lps22hh@5d {
		compatible = "st,lps22hh";
		reg = <0x5d>;
		drdy-gpios = <&arduino_header 15 GPIO_ACTIVE_HIGH>;
	};
};
```

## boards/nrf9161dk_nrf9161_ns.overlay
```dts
/*
 * Copyright (c) 2023 Nordic Semiconductor ASA
 *
 * SPDX-License-Identifier: LicenseRef-Nordic-5-Clause
 */

#include <dt-bindings/regulator/npm1300.h>

/ {
	chosen {
		zephyr,ppp-uart = &uart1;
	};

	/delete-node/ leds;

	leds0 {
		compatible = "gpio-leds";
		status = "okay";
		label = "LED0";
		led0: led_0 {
			status = "okay";
			gpios = <&gpio0 0 0>;
			label = "Green LED 1";
		};
	};

	leds1 {
		compatible = "gpio-leds";
		status = "okay";
		label = "LED1";
		led1: led_1 {
			gpios = <&gpio0 1 0>;
			label = "Green LED 2";
		};
	};

	leds2 {
		compatible = "gpio-leds";
		status = "okay";
		label = "LED2";
		led2: led_2 {
			gpios = <&gpio0 4 0>;
			label = "Green LED 3";
		};
	};

	leds3 {
		compatible = "gpio-leds";
		status = "okay";
		label = "LED3";
		led3: led_3 {
			gpios = <&gpio0 5 0>;
			label = "Green LED 4";
		};
	};

	/* Configure partition manager to use gd25wb256 as the external flash */
	chosen {
		nordic,pm-ext-flash = &gd25wb256;
	};

	aliases {
		ext-flash = &gd25wb256;
	};

	nordic_wlan0: nordic_wlan0 {
		compatible = "nordic,wlan0";
		status = "okay";
	};

	nrf70_tx_power_ceiling: nrf70_tx_power_ceiling_node {
		status = "okay";
		compatible = "nordic,nrf700x-tx-power-ceiling";
		max-pwr-2g-dsss = <0x54>;
		max-pwr-2g-mcs0 = <0x40>;
		max-pwr-2g-mcs7 = <0x40>;
		max-pwr-5g-low-mcs0 = <0x34>;
		max-pwr-5g-low-mcs7 = <0x34>;
		max-pwr-5g-mid-mcs0 = <0x34>;
		max-pwr-5g-mid-mcs7 = <0x34>;
		max-pwr-5g-high-mcs0 = <0x30>;
		max-pwr-5g-high-mcs7 = <0x30>;
	};
};

&gd25wb256 {
	status = "okay";
};

&uart1 {
	status = "okay";
	hw-flow-control;
};

&arduino_i2c {
	lis2dw12: lis2dw12@19 {
		compatible = "st,lis2dw12";
		reg = <0x19>;
		int-pin = <1>;
		irq-gpios =  <&gpio0 7 GPIO_ACTIVE_HIGH>, <&gpio0 4 GPIO_ACTIVE_HIGH>;
		tap-threshold = <1>, <1>, <1>;
	};

	lps22hh: lps22hh@5d {
		compatible = "st,lps22hh";
		reg = <0x5d>;
		drdy-gpios = <&arduino_header 15 GPIO_ACTIVE_HIGH>;
	};

	lps22hb: lps22hb-press@5c {
		compatible = "st,lps22hb-press";
		reg = <0x5c>;
		drdy-gpios = <&gpio0 10 GPIO_ACTIVE_HIGH>;
	};

	npm1300_pmic: pmic@6b {
		compatible = "nordic,npm1300";
		reg = <0x6b>;
		status = "okay";
		host-int-gpios = <&gpio0 6 0>;
		pmic-int-pin = <3>;

		npm1300_wdt: npm1300_wdt {
			compatible = "nordic,npm1300-wdt";
		};

		npm1300_regulators: regulators {
			compatible = "nordic,npm1300-regulator";

			/* limits are set to min/max allowed values */
			npm1300_buck1: BUCK1 {
				regulator-min-microvolt = <3000000>;
				regulator-max-microvolt = <3000000>;
			};

			npm1300_ldsw1: LDO1 {
				regulator-min-microvolt = <3000000>;
				regulator-max-microvolt = <3000000>;
				regulator-initial-mode = <NPM1300_LDSW_MODE_LDSW>;
				regulator-allowed-modes = <NPM1300_LDSW_MODE_LDSW>;
			};

			npm1300_ldsw2: LDO2 {
				regulator-min-microvolt = <3000000>;
				regulator-max-microvolt = <3000000>;
				regulator-initial-mode = <NPM1300_LDSW_MODE_LDSW>;
				regulator-allowed-modes = <NPM1300_LDSW_MODE_LDSW>;
			};
		};

		npm1300_charger: charger {
			compatible = "nordic,npm1300-charger";
			term-microvolt = <4150000>;
			term-warm-microvolt = <4150000>;
			current-microamp = <800000>;
			dischg-limit-microamp = <1340000>;
			vbus-limit-microamp = <1200000>;
			thermistor-ohms = <10000>;
			thermistor-beta = <3380>;
			charging-enable;
		};
	};
};

&arduino_spi {
	status = "okay";

	nrf700x: nrf7002@0 {
		compatible = "nordic,nrf700x-spi";
		status = "okay";
		reg = <0>;
		spi-max-frequency = <DT_FREQ_M(8)>;

		iovdd-ctrl-gpios = <&arduino_header 6 (GPIO_ACTIVE_HIGH | GPIO_PULL_DOWN)>;    /* D0 */
		bucken-gpios = <&arduino_header 7 (GPIO_ACTIVE_HIGH | GPIO_PULL_DOWN)>;        /* D1 */
		host-irq-gpios = <&arduino_header 13 GPIO_ACTIVE_HIGH>;     /* D7 */
	};
};
```

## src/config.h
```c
/*
 * Copyright (c) 2024 VoxelBotics
 */

#ifndef THINGY9151LITE_CONFIG_H_
#define THINGY9151LITE_CONFIG_H_

/* The software version: major / minor / build number */
#define CONFIG_VERSION_MAJOR    1
#define CONFIG_VERSION_MINOR    2

/* The software build number and type (debug / release) */
#define CONFIG_BUILD_NUMBER     3
#define CONFIG_BUILD_DEBUG      1

#endif
```

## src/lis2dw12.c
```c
#include <zephyr/drivers/sensor.h>

#ifdef CONFIG_LIS2DW12_TRIGGER
int lis2dw12_trig_cnt;

void lis2dw12_trigger_handler(const struct device *dev,
				     const struct sensor_trigger *trig)
{
	sensor_sample_fetch_chan(dev, SENSOR_CHAN_ACCEL_XYZ);
	lis2dw12_trig_cnt++;
}
#endif
```

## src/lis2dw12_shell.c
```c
/*
 * Miscellaneous shell commands
 *
 * Copyright (c) 2024 Emcraft Systems
 *
 * SPDX-License-Identifier: Apache-2.0
 *
 */

#include <zephyr/shell/shell.h>
#include <zephyr/drivers/sensor.h>
#include <zephyr/debug/thread_analyzer.h>
#include <ctype.h>

#include "lis2dw12_shell.h"

static inline float out_ev(struct sensor_value *val)
{
	return (val->val1 + (float)val->val2 / 1000000);
}


static int cmd_lis2dw12_get(const struct shell *sh, size_t argc, char **argv)
{
	struct sensor_value x, y, z;
	const struct device *const dev = DEVICE_DT_GET_ONE(st_lis2dw12);

	if (!device_is_ready(dev)) {
		shell_print(sh, "%s: device not ready.\n", dev->name);
		return 0;
	}
	/* lis2dw12 accel */
	sensor_sample_fetch_chan(dev, SENSOR_CHAN_ACCEL_XYZ);
	sensor_channel_get(dev, SENSOR_CHAN_ACCEL_X, &x);
	sensor_channel_get(dev, SENSOR_CHAN_ACCEL_Y, &y);
	sensor_channel_get(dev, SENSOR_CHAN_ACCEL_Z, &z);

	shell_print(sh, "accel x:%f ms/2 y:%f ms/2 z:%f ms/2\n",
			(double)out_ev(&x), (double)out_ev(&y), (double)out_ev(&z));

#ifdef CONFIG_LIS2DW12_TRIGGER
	shell_print(sh, "Trigger count: %d \n", lis2dw12_trig_cnt);
#endif
	return 0;
}

static int cmd_lis2dw12_set(const struct shell *sh, size_t argc, char **argv)
{

	int ret = 0;
	struct sensor_value odr_attr, fs_attr;
	const struct device *const dev = DEVICE_DT_GET_ONE(st_lis2dw12);

	if (argc < 3) {
		shell_print(sh, "Example: lis2dw12_set 100 0 - set ODR to 100.0 Hz");
		return 0;
	}
	if (!device_is_ready(dev)) {
		shell_print(sh, "%s: device not ready.\n", dev->name);
		return 0;
	}
	/*
	   set accel/gyro sampling frequency to (argv[1]).(argv[2]) Hz
	   uart:~$ lis2dw12_set 100 0
	   Setting sampling rate to 100 Hz
	*/
	odr_attr.val1 = strtol(argv[1], NULL, 10);
	odr_attr.val2 = strtol(argv[2], NULL, 10);

	shell_print(sh, "Setting sampling rate to %f Hz\n", out_ev(&odr_attr));

	ret = sensor_attr_set(dev, SENSOR_CHAN_ACCEL_XYZ,
			SENSOR_ATTR_SAMPLING_FREQUENCY, &odr_attr);
	if (ret != 0) {
		shell_print(sh, "Cannot set sampling frequency for accelerometer.\n");
		return ret;
	}

	sensor_g_to_ms2(16, &fs_attr);

	if (sensor_attr_set(dev, SENSOR_CHAN_ACCEL_XYZ,
			    SENSOR_ATTR_FULL_SCALE, &fs_attr) < 0) {
		shell_print(sh, "Cannot set sampling frequency for LIS2DW12 gyro\n");
		return 0;
	}

#ifdef CONFIG_LIS2DW12_TRIGGER
	struct sensor_trigger trig;

	trig.type = SENSOR_TRIG_DATA_READY;
	trig.chan = SENSOR_CHAN_ACCEL_XYZ;
	sensor_trigger_set(dev, &trig, lis2dw12_trigger_handler);
#endif
	return 0;
}

static int cmd_lis2dw12_pm_set(const struct shell *sh, size_t argc, char **argv)
{
	const struct device *const dev = DEVICE_DT_GET_ONE(st_lis2dw12);
	int mode;
	lis2dw12_mode_t pm;
	struct sensor_value attr;

	if (argc < 2) {
		shell_print(sh, "Example: lis2dw12_pm 1 - set High Performance mode");
		return 0;
	}

	if (!device_is_ready(dev)) {
		shell_print(sh, "%s: device not ready.\n", dev->name);
		return 0;
	}
	mode = atoi(argv[1]);

	switch (mode) {
		case 1:
			pm = LIS2DW12_HIGH_PERFORMANCE;
			break;
		case 2:
			pm = LIS2DW12_CONT_LOW_PWR_2;
			break;
		case 3:
			pm = LIS2DW12_CONT_LOW_PWR_3;
			break;
		case 4:
			pm = LIS2DW12_CONT_LOW_PWR_4;
			break;
		default:
			pm = LIS2DW12_CONT_LOW_PWR_12bit;
	}
	
	shell_print(sh, "Setting power mode %d", pm);
	attr.val1 = CONFIGURE_PM_MODE;
	attr.val2 = pm;
	if (sensor_attr_set(dev, SENSOR_CHAN_ACCEL_XYZ,
			    SENSOR_ATTR_CONFIGURATION, &attr) < 0) {
		shell_print(sh, "Cannot set power mode for LIS2DW12 gyro\n");
		return 0;
	}
	return 0;
} 


static int cmd_lis2dw12_pin_set(const struct shell *sh, size_t argc, char **argv)
{
	const struct device *const dev = DEVICE_DT_GET_ONE(st_lis2dw12);
	int pin;
	struct sensor_value attr;

	if (argc < 2) {
		shell_print(sh, "Example: lis2dw12_pin 1 - set pin #1");
		return 0;
	}

	if (!device_is_ready(dev)) {
		shell_print(sh, "%s: device not ready.\n", dev->name);
		return 0;
	}
	pin = atoi(argv[1]);

	shell_print(sh, "Setting pin #%d", pin);
	attr.val1 = CONFIGURE_INT_PIN;
	attr.val2 = pin;
	if (sensor_attr_set(dev, SENSOR_CHAN_ACCEL_XYZ,
			    SENSOR_ATTR_CONFIGURATION, &attr) < 0) {
		shell_print(sh, "Cannot set pin for LIS2DW12 gyro\n");
	}

	// reset counter
	lis2dw12_trig_cnt = 0;

#ifdef CONFIG_LIS2DW12_TRIGGER
	struct sensor_trigger trig;

	trig.type = SENSOR_TRIG_DATA_READY;
	trig.chan = SENSOR_CHAN_ACCEL_XYZ;
	sensor_trigger_set(dev, &trig, lis2dw12_trigger_handler);
#endif
	
	return 0;
} 

SHELL_CMD_REGISTER(lis2dw12_get, NULL, "Print IMU data", 
		cmd_lis2dw12_get);

SHELL_CMD_REGISTER(lis2dw12_set, NULL, "Set LIS2DW12 IMU sampling frequency (100 0)",
		cmd_lis2dw12_set);

SHELL_CMD_REGISTER(lis2dw12_pm, NULL, "Set LIS2DW12 IMU power mode (1 - high performance, 2..4 low power mode)",
		cmd_lis2dw12_pm_set);

SHELL_CMD_REGISTER(lis2dw12_pin, NULL, "Set LIS2DW12 INT pin (1 or 2)",
		cmd_lis2dw12_pin_set);
```

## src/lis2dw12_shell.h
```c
#ifndef LIS2DW12_SHELL_INCLUDED
#define LIS2DW12_SHELL_INCLUDED

#ifdef CONFIG_LIS2DW12_TRIGGER

#include "lis2dw12_reg.h"

extern int lis2dw12_trig_cnt;

void lis2dw12_trigger_handler(const struct device *dev,
				     const struct sensor_trigger *trig);
#endif

#endif
```

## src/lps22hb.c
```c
#include <zephyr/drivers/sensor.h>

#ifdef CONFIG_LPS22HB_TRIGGER
int lps22hb_trig_cnt;

void lps22hb_handler(const struct device *dev,
				     const struct sensor_trigger *trig)
{
	struct sensor_value pressure;
	sensor_channel_get(dev, SENSOR_CHAN_PRESS, &pressure);

	lps22hb_trig_cnt++;
}
#endif
```

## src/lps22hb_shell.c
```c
/*
 * LPS22HH shell commands
 *
 * Copyright (c) 2024 Emcraft Systems
 *
 * SPDX-License-Identifier: Apache-2.0
 *
 */

#include <zephyr/shell/shell.h>
#include <zephyr/drivers/sensor.h>
#include <ctype.h>
#include "lps22hb_shell.h"

static inline float out_ev(struct sensor_value *val)
{
	return (val->val1 + (float)val->val2 / 1000000);
}

static int cmd_lps22hb_get(const struct shell *sh, size_t argc, char **argv)
{
	struct sensor_value pressure, temp;
	const struct device *const dev = DEVICE_DT_GET_ONE(st_lps22hb_press);

	if (!device_is_ready(dev)) {
		shell_print(sh, "%s: device not ready.\n", dev->name);
		return 0;
	}

	if (sensor_sample_fetch(dev) < 0) {
		shell_print(sh, "Sensor sample update error\n");
		return 0;
	}

	if (sensor_channel_get(dev, SENSOR_CHAN_PRESS, &pressure) < 0) {
		shell_print(sh, "Cannot read LPS22HB pressure channel\n");
		return 0;
	}

	if (sensor_channel_get(dev, SENSOR_CHAN_AMBIENT_TEMP, &temp) < 0) {
		shell_print(sh, "Cannot read LPS22HB temperature channel\n");
		return 0;
	}
	
	/* display pressure */
	shell_print(sh, "Pressure: %.3f kPa\n", sensor_value_to_double(&pressure));

	/* display temperature */
	shell_print(sh, "Temperature: %.2f C\n", sensor_value_to_double(&temp));

	/* trigger count */
	shell_print(sh, "Trigger count: %d\n", lps22hb_trig_cnt);
	return 0;
}

static int cmd_lps22hb_set(const struct shell *sh, size_t argc, char **argv)
{

	int ret = 0;
	struct sensor_value attr;
	const struct device *const dev = DEVICE_DT_GET_ONE(st_lps22hb_press);

	if (argc < 1) {
		return 0;
	}
	if (!device_is_ready(dev)) {
		shell_print(sh, "%s: device not ready.\n", dev->name);
		return 0;
	}
	/*
	   set barometer sampling rate to xx Hz
	   uart:~$ lps22hb_set 1
	   Setting sampling rate to 1 Hz
	*/
	attr.val1 = strtol(argv[1], NULL, 10);	
	attr.val2 = 0;

	shell_print(sh, "Setting sampling rate to %f Hz\n", out_ev(&attr));

	ret = sensor_attr_set(dev, SENSOR_CHAN_ALL,
			SENSOR_ATTR_SAMPLING_FREQUENCY, &attr);

	if (ret != 0) {
		shell_print(sh, "Cannot configure sampling rate.\n");
		return ret;
	}

	if (IS_ENABLED(CONFIG_LPS22HB_TRIGGER)) {
		struct sensor_trigger trig = {
			.type = SENSOR_TRIG_DATA_READY,
			.chan = SENSOR_CHAN_ALL,
		};

		if (sensor_trigger_set(dev, &trig, lps22hb_handler) < 0) {
			shell_print(sh, "Cannot configure trigger\n");
			return 0;
		}
	}

	return 0;
}

static int cmd_lps22hb_pm_set(const struct shell *sh, size_t argc, char **argv)
{
	const struct device *const dev = DEVICE_DT_GET_ONE(st_lps22hb_press);
	struct sensor_value attr;
	uint8_t mode = 0; 

	if (argc < 1) {
		return 0;
	}

	if (!device_is_ready(dev)) {
		shell_print(sh, "%s: device not ready.\n", dev->name);
		return 0;
	}

	if (strncmp(argv[1], "ln", 2) == 0) {
		mode = 1;
		shell_print(sh, "Setting low-noise mode.\n");
	} else {
		shell_print(sh, "Setting low-current mode.\n");
	}

	attr.val1 = mode;
	attr.val2 = 0;

	int ret = sensor_attr_set(dev, SENSOR_CHAN_ALL,
			SENSOR_ATTR_CONFIGURATION, &attr);

	if (ret != 0) {
		shell_print(sh, "Cannot configure power mode.\n");
		return ret;
	}

	return 0;
} 

SHELL_CMD_REGISTER(lps22hb_get, NULL, "Print LPS22HB data",
		cmd_lps22hb_get);

SHELL_CMD_REGISTER(lps22hb_set, NULL, "Set LPS22HB sampling frequency (0, 1, 10, 25, 50, 75)",
		cmd_lps22hb_set);

SHELL_CMD_REGISTER(lps22hb_pm, NULL, "Set LPS22HB power mode (lc - low current, ln - low noise)",
		cmd_lps22hb_pm_set);
```

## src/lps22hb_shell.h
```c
#ifndef LPS22HB_SHELL_INCLUDED
#define LPS22HB_SHELL_INCLUDED

#ifdef CONFIG_LPS22HB_TRIGGER

#include <zephyr/drivers/sensor.h>

extern int lps22hb_trig_cnt;

void lps22hb_handler(const struct device *dev,
				     const struct sensor_trigger *trig);

#endif

#endif
```

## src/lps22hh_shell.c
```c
/*
 * LPS22HH shell commands
 *
 * Copyright (c) 2024 Emcraft Systems
 *
 * SPDX-License-Identifier: Apache-2.0
 *
 */

#include <zephyr/shell/shell.h>
#include <zephyr/drivers/sensor.h>
#include <ctype.h>

static inline float out_ev(struct sensor_value *val)
{
	return (val->val1 + (float)val->val2 / 1000000);
}

static int cmd_lps22hh_get(const struct shell *sh, size_t argc, char **argv)
{
	struct sensor_value pressure, temp;
	const struct device *const dev = DEVICE_DT_GET_ONE(st_lps22hh);

	if (!device_is_ready(dev)) {
		shell_print(sh, "%s: device not ready.\n", dev->name);
		return 0;
	}

	if (sensor_sample_fetch(dev) < 0) {
		shell_print(sh, "Sensor sample update error\n");
		return 0;
	}

	if (sensor_channel_get(dev, SENSOR_CHAN_PRESS, &pressure) < 0) {
		shell_print(sh, "Cannot read LPS22HH pressure channel\n");
		return 0;
	}

	if (sensor_channel_get(dev, SENSOR_CHAN_AMBIENT_TEMP, &temp) < 0) {
		shell_print(sh, "Cannot read LPS22HH temperature channel\n");
		return 0;
	}
	
	/* display pressure */
	shell_print(sh, "Pressure: %.3f kPa\n", sensor_value_to_double(&pressure));

	/* display temperature */
	shell_print(sh, "Temperature: %.2f C\n", sensor_value_to_double(&temp));

	return 0;
}

static int cmd_lps22hh_set(const struct shell *sh, size_t argc, char **argv)
{

	int ret = 0;
	struct sensor_value attr;
	const struct device *const dev = DEVICE_DT_GET_ONE(st_lps22hh);

	if (argc < 1) {
		return 0;
	}
	if (!device_is_ready(dev)) {
		shell_print(sh, "%s: device not ready.\n", dev->name);
		return 0;
	}
	/*
	   set barometer sampling rate to xx Hz
	   uart:~$ lps22hh_set 1
	   Setting sampling rate to 1 Hz
	*/
	attr.val1 = strtol(argv[1], NULL, 10);	
	attr.val2 = 0;

	shell_print(sh, "Setting sampling rate to %f Hz\n", out_ev(&attr));

	ret = sensor_attr_set(dev, SENSOR_CHAN_ALL,
			SENSOR_ATTR_SAMPLING_FREQUENCY, &attr);

	if (ret != 0) {
		shell_print(sh, "Cannot configure sampling rate.\n");
		return ret;
	}

	return 0;
}

static int cmd_lps22hh_pm_set(const struct shell *sh, size_t argc, char **argv)
{
	const struct device *const dev = DEVICE_DT_GET_ONE(st_lps22hh);
	struct sensor_value attr;
	uint8_t mode = 0; 

	if (argc < 1) {
		return 0;
	}

	if (!device_is_ready(dev)) {
		shell_print(sh, "%s: device not ready.\n", dev->name);
		return 0;
	}

	if (strncmp(argv[2], "ln", 2) == 0) {
		mode = 1;
		shell_print(sh, "Setting low-noise mode.\n");
	} else {
		shell_print(sh, "Setting low-current mode.\n");
	}

	
	attr.val1 = mode;
	attr.val2 = 0;

	int ret = sensor_attr_set(dev, SENSOR_CHAN_ALL,
			SENSOR_ATTR_CONFIGURATION, &attr);

	if (ret != 0) {
		shell_print(sh, "Cannot configure power mode.\n");
		return ret;
	}

	return 0;
} 

SHELL_CMD_REGISTER(lps22hh_get, NULL, "Print LPS22HH data", 
		cmd_lps22hh_get);

SHELL_CMD_REGISTER(lps22hh_set, NULL, "Set LPS22HH sampling frequency (1..200)",
		cmd_lps22hh_set);

SHELL_CMD_REGISTER(lps22hh_pm, NULL, "Set LPS22HH power mode (lc - low current, ln - low noise)",
		cmd_lps22hh_pm_set);
```

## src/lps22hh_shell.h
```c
#ifndef LPS22HH_SHELL_INCLUDED
#define LPS22HH_SHELL_INCLUDED

#ifdef CONFIG_LPS22HH_TRIGGER

#include <zephyr/drivers/sensor.h>

extern int lps22hh_trig_cnt;

void lps22hh_handler(const struct device *dev,
				     const struct sensor_trigger *trig);

#endif

#endif
```
